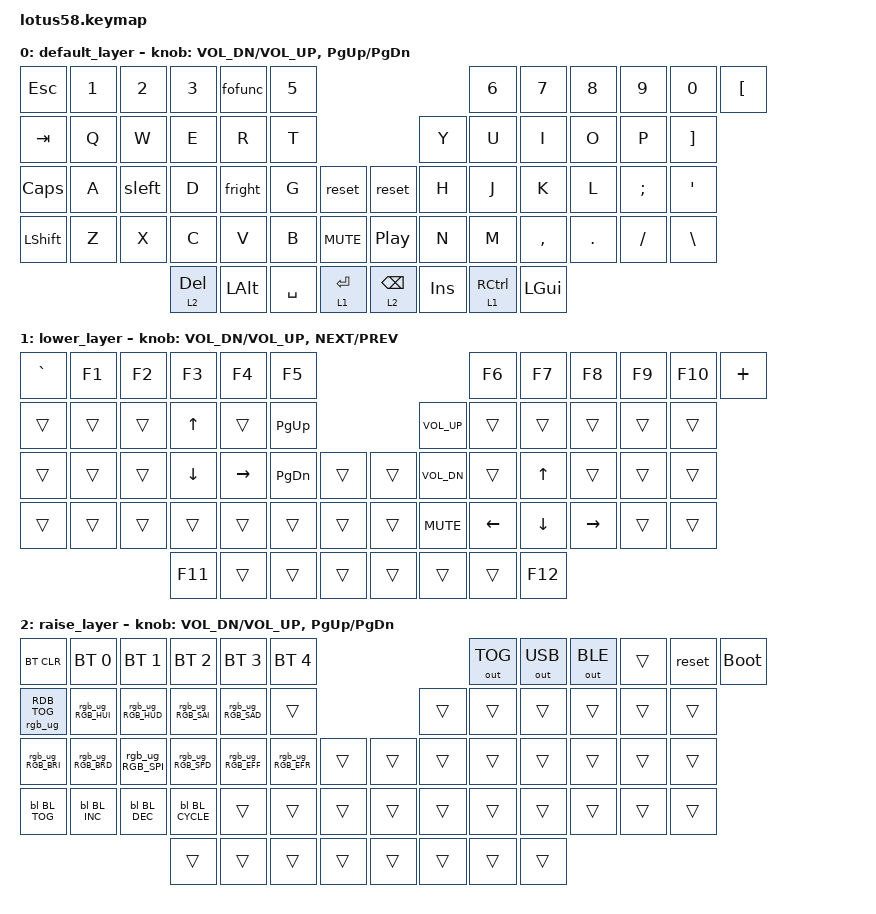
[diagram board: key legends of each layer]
/*
 * Copyright (c) 2022 The ZMK Contributors
 *
 * SPDX-License-Identifier: MIT
 */

#include <behaviors.dtsi>
#include <dt-bindings/zmk/keys.h>
#include <dt-bindings/zmk/bt.h>
#include <dt-bindings/zmk/outputs.h>


/ {
    combos {
        compatible = "zmk,combos";
        combo_dsklg {
            timeout-ms = <100>;
            key-positions = <24 52>;
            layers = <0>;
            bindings = <&kp LGUI>;
        };
    };

    behaviors {
        fofunc: four_ffour {
            compatible = "zmk,behavior-mod-morph";
            label = "FOUR_FUNCFOUR";
            #binding-cells = <0>;
            bindings = <&kp N4>, <&kp F4>;
            mods = <(MOD_LALT|MOD_RALT)>;
        };
        sleft: s_left {
            compatible = "zmk,behavior-mod-morph";
            label = "S_LEFT";
            #binding-cells = <0>;
            bindings = <&kp S>, <&kp LEFT>;
            mods = <(MOD_LGUI|MOD_RGUI)>;
        };
        fright: f_right {
            compatible = "zmk,behavior-mod-morph";
            label = "R_RIGHT";
            #binding-cells = <0>;
            bindings = <&kp F>, <&kp RIGHT>;
            mods = <(MOD_LGUI|MOD_RGUI)>;
        };
    };

    keymap {
        compatible = "zmk,keymap";

        default_layer {
//   ------------------------------------------------------------------------------------------------------------
//  0|  ESC  |  1  |  2  |  3   |  4   |  5   |                     |  6   |  7    |  8    |  9   |   0   |   =   | 11
// 12|  TAB  |  Q  |  W  |  E   |  R   |  T   |                     |  Y   |  U    |  I    |  O   |   P   |   [   | 23
// 24|  SFT  |  A  |  S  |  D   |  F   |  G   |  RESET  |  | RESET  |  H   |  J    |  K    |  L   |   ;   | ' SFT | 37
// 38|  CTRL |  Z  |  X  |  C   |  V   |  B   |  MUTE   |  | PLAY   |  N   |  M    |  ,    |  .   |   /   | \ CTRL| 51
// 52                    |ENT RS|  ALT | SPACE|DELETE LW|  |ENTER RS| BSPC |  ] LW | RGUI  |                        59
            bindings = <
&kp ESC   &kp N1 &kp N2   &kp N3     &fofunc   &kp N5                               &kp N6    &kp N7      &kp N8    &kp N9   &kp N0   &kp LBKT
&kp TAB   &kp Q  &kp W    &kp E      &kp R     &kp T                                &kp Y     &kp U       &kp I     &kp O    &kp P    &kp RBKT
&kp CAPS &kp A  &sleft   &kp D      &fright   &kp G      &reset         &reset     &kp H     &kp J       &kp K     &kp L    &kp SEMI &kp SQT
&kp LSHIFT &kp Z  &kp X    &kp C      &kp V     &kp B      &kp C_MUTE     &kp C_PP   &kp N     &kp M       &kp COMMA &kp DOT  &kp FSLH &kp BSLH
                          &lt 2 DEL  &kp LALT  &kp SPACE  &lt 1 RET      &lt 2 BSPC  &kp INS  &lt 1 RCTRL  &kp LGUI
            >;

            sensor-bindings = <&inc_dec_kp C_VOL_DN C_VOL_UP &inc_dec_kp PG_UP PG_DN>;
        };

        lower_layer {
// ------------------------------------------------------------------------------------------------------------
// | `     |  F1 |  F2 |  F3  |  F4  |  F5  |                   |  F6  |  F7   |  F8   |  F9  |  F10  |  F11  |
// |       |  !  | HOME|   ^  |  END |  %   |                   | VOL^ |  PGUP |  INS  |  ^   |  PSCR |   -   |
// |       |  #  |  <- |   v  | ->   |  $   |        |  |       | VOLv |    <- |   ^   |  ->  |   ~   |   _   |
// |       |  @  |  -  |  (   |  )   |  &   |        |  |       | MUTE |  PGDN |   v   |  :   |   *   |   |   |
//                     |  F11 |      |      |        |  |       |      |       |  F12  |
            bindings = <
&kp GRAVE  &kp F1    &kp F2    &kp F3      &kp F4     &kp F5                     &kp F6        &kp F7     &kp F8    &kp F9     &kp F10   &kp PLUS
&trans     &trans   &trans   &kp UP      &trans     &kp PG_UP                    &kp C_VOL_UP  &trans   &trans    &trans  &trans &trans
&trans     &trans   &trans   &kp DOWN    &kp RIGHT  &kp PG_DN   &trans   &trans  &kp C_VOL_DN  &trans   &kp UP    &trans   &trans &trans
&trans     &trans   &trans   &trans      &trans     &trans   &trans      &trans  &kp C_MUTE    &kp LEFT    &kp DOWN  &kp RIGHT  &trans   &trans 
                               &kp F11     &trans     &trans    &trans   &trans  &trans        &trans     &kp F12
            >;

            sensor-bindings = <&inc_dec_kp C_VOL_DN C_VOL_UP &inc_dec_kp C_NEXT C_PREV>;
        };

        raise_layer {
// ------------------------------------------------------------------------------------------------------------
// |BTCLR| BT1  | BT2  |  BT3  |  BT4  |  BT5 |                |OUTTOG|OUTUSB| OUTBT |      | RESET | FLASH |
// |     | INS  | PSCR | GUI   | RESET |      |                | PGUP |      |   ^   |      |       |       |
// |     | ALT  | CTRL | SHIFT | FLASH | CAPS |      |  |      | PGDN |   <- |   v   |  ->  |  DEL  | BSPC  |
// |     | UNDO | CUT  | COPY  | PASTE |      |      |  |      |      |  |>  |  <|<| | |>|> |       |       |
//                     |       |       |      |      |  |      |      |      |       |
            bindings = <
&bt BT_CLR &bt BT_SEL 0 &bt BT_SEL 1 &bt BT_SEL 2 &bt BT_SEL 3 &bt BT_SEL 4                    &out OUT_TOG  &out OUT_USB  &out OUT_BLE  &trans     &reset  &bootloader
&rgb_ug RDB_TOG     & rgb_ug RGB_HUI & rgb_ug RGB_HUD & rgb_ug RGB_SAI & rgb_ug RGB_SAD  &trans                           &trans     &trans         &trans      &trans     &trans  &trans
& rgb_ug RGB_BRI & rgb_ug RGB_BRD & rgb_ug RGB_SPI & rgb_ug RGB_SPD & rgb_ug RGB_EFF & rgb_ug RGB_EFR     &trans   &trans     &trans      &trans      &trans      &trans   &trans &trans
& bl BL_TOG      & bl BL_INC      & bl BL_DEC      & bl BL_CYCLE   &trans  &trans       &trans   &trans    &trans        &trans     &trans   &trans &trans  &trans
                                      &trans       &trans       &trans       &trans   &trans    &trans        &trans        &trans
            >;

            sensor-bindings = <&inc_dec_kp C_VOL_DN C_VOL_UP &inc_dec_kp PG_UP PG_DN>;
        };
    };
};
